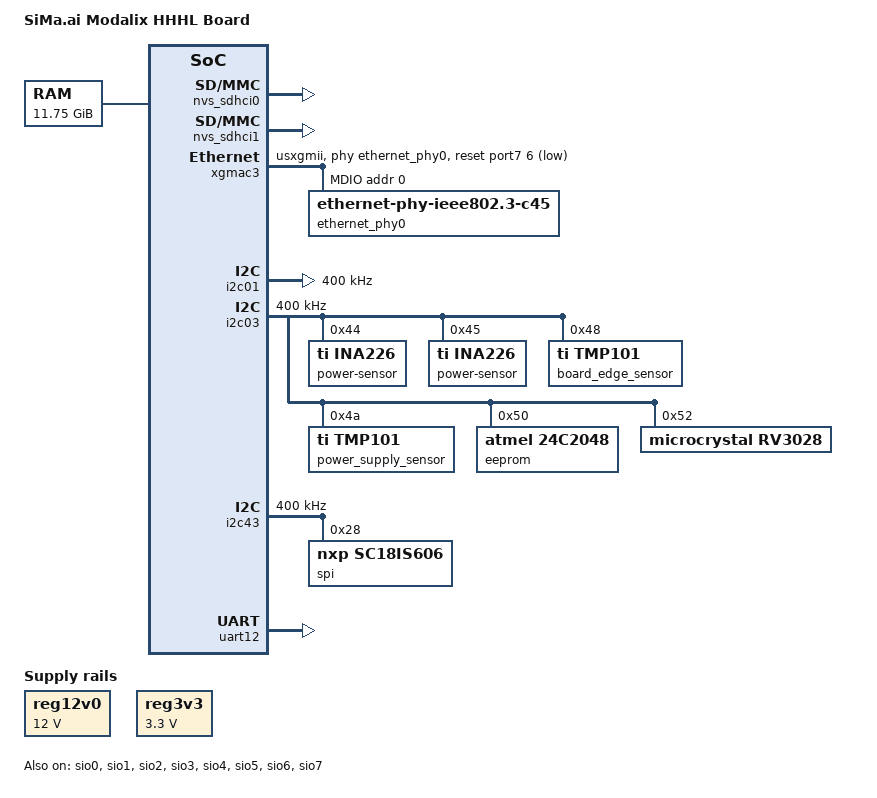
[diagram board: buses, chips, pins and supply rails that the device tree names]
// SPDX-License-Identifier: (GPL-2.0+ OR MIT)
/*
 * Copyright (c) 2025 SiMa ai
 */

/dts-v1/;

#include "modalix.dtsi"

/ {
	model = "SiMa.ai Modalix HHHL Board";

	chosen {
		bootargs = "console=ttyS0,115200n8 root=/dev/ram0 rw rootfstype=ramfs uio_pdrv_genirq.of_id=generic-uio";
		linux,initrd-start = <0x11 0x88000000>;
		linux,initrd-end = <0x11 0x89400000>;
	};

	aliases {
		console = &uart12;
		mmc0 = &nvs_sdhci0;
		mmc1 = &nvs_sdhci1;
		rtc0 = &rv3028;
	};

	memory@1000000000 {
		device_type = "memory";
		reg = <0x00000010 0x00000000 0x00000000 0x6FC00000
			0x00000011 0x80000000 0x00000002 0x80000000>;
	};

	thermal-zones {
		board {
			polling-delay = <30000>;
			polling-delay-passive = <5000>;
			thermal-sensors = <&board_edge_sensor>, <&power_supply_sensor>;

			trips {
				board_alert: board-alert {
					temperature = <50000>;
					hysteresis = <3000>;
					type = "active";
				};
				board_crit: board-crit {
					temperature = <70000>;
					hysteresis = <2000>;
					type = "critical";
				};
			};

			cooling-maps {
				map0 {
					trip = <&board_alert>;
				};
				map1 {
					trip = <&board_crit>;
				};
			};
		};
	};

	reg12v0: fixedregulator@1 {
		compatible = "regulator-fixed";
		regulator-name = "in_supply";
		regulator-min-microvolt = <12000000>;
		regulator-max-microvolt = <12000000>;
		regulator-always-on;
	};

	reg3v3: fixedregulator@2 {
		compatible = "regulator-fixed";
		regulator-name = "vdd_supply";
		regulator-min-microvolt = <3300000>;
		regulator-max-microvolt = <3300000>;
		regulator-always-on;
	};
};

&nvs_sdhci0 {
	status = "okay";
};

&nvs_sdhci1 {
	max-frequency = <25000000>;
	status = "okay";
};

&sio0 {
	status = "okay";
};

&sio1 {
	status = "okay";
};

&sio2 {
	status = "okay";
};

&gpio20 {
	pinctrl-0 = <&pins_gpio20_deafult>, <&pins_gpio21_deafult>,
		    <&pins_gpio22_deafult>, <&pins_gpio23_deafult>,
		    <&pins_gpio24_deafult>, <&pins_gpio25_deafult>;
	pinctrl-names = "default";

	status = "okay";
};

&sio3 {
	status = "okay";
};

&sio4 {
	status = "okay";
};

&gpio50 {
	pinctrl-0 = <&pins_gpio55_deafult>;
	pinctrl-names = "default";

	status = "okay";
};

&sio5 {
	status = "okay";
};

&sio6 {
	status = "okay";
};

&sio7 {
	status = "okay";
};

&gpio70 {
	pinctrl-0 = <&pins_gpio70_deafult>, <&pins_gpio71_deafult>,
		    <&pins_gpio72_deafult>, <&pins_gpio73_deafult>,
		    <&pins_gpio74_deafult>, <&pins_gpio75_deafult>,
		    <&pins_gpio76_deafult>, <&pins_gpio77_deafult>;
	pinctrl-names = "default";
	status = "okay";
};

&xgmac3 {
	interrupts = <GIC_SPI 148 IRQ_TYPE_LEVEL_HIGH>;
	interrupt-names = "macirq";
	phy-mode = "usxgmii";
	managed = "in-band-status";
	snps,reset-gpio = <&port7 6 GPIO_ACTIVE_LOW>;
	snps,reset-active-low;
	snps,reset-delays-us = <0 50000 50000>;
	phy-handle = <&ethernet_phy0>;
	status = "okay";
	mdio3 {
		compatible = "snps,dwmac-mdio";
		#address-cells = <1>;
		#size-cells = <0>;

		ethernet_phy0: ethernet-phy@0 {
			compatible = "ethernet-phy-ieee802.3-c45";
			reg = <0>;
		};
	};
};

&i2c01 {
	status = "okay";
	clock-frequency = <400000>;
};

&i2c03 {
	status = "okay";
	clock-frequency = <400000>;

	power-sensor@44 {
		compatible = "ti,ina226";
		reg = <0x44>;
		#io-channel-cells = <1>;
		shunt-resistor = <1000>;
	};

	power-sensor@45 {
		compatible = "ti,ina226";
		reg = <0x45>;
		#io-channel-cells = <1>;
		shunt-resistor = <1000>;
	};

	board_edge_sensor: temp-sensor@48 {
		compatible = "ti,tmp101";
		reg = <0x48>;
		#thermal-sensor-cells = <0>;
	};

	power_supply_sensor: temp-sensor@4A {
		compatible = "ti,tmp101";
		reg = <0x4A>;
		#thermal-sensor-cells = <0>;
	};

	eeprom@50 {
		compatible = "atmel,24c2048";
		reg = <0x50>;
		pagesize = <256>;
		num-addresses = <1>;
	};

	rv3028: rtc@52 {
		compatible = "microcrystal,rv3028";
		reg = <0x52>;
	};
};

&i2c43 {
	status = "okay";
	clock-frequency = <400000>;

	spi@28 {
		compatible = "nxp,sc18is606";
		reg = <0x28>;
		#address-cells = <1>;
		#size-cells = <0>;
	};
};

&uart12 {
	status = "okay";
};

&csi0 {
	status = "disabled";
};

&csi1 {
	status = "disabled";
};

&csi2 {
	status = "disabled";
};

&csi3 {
	isp-connected = <0>;
	status = "disabled";
};
